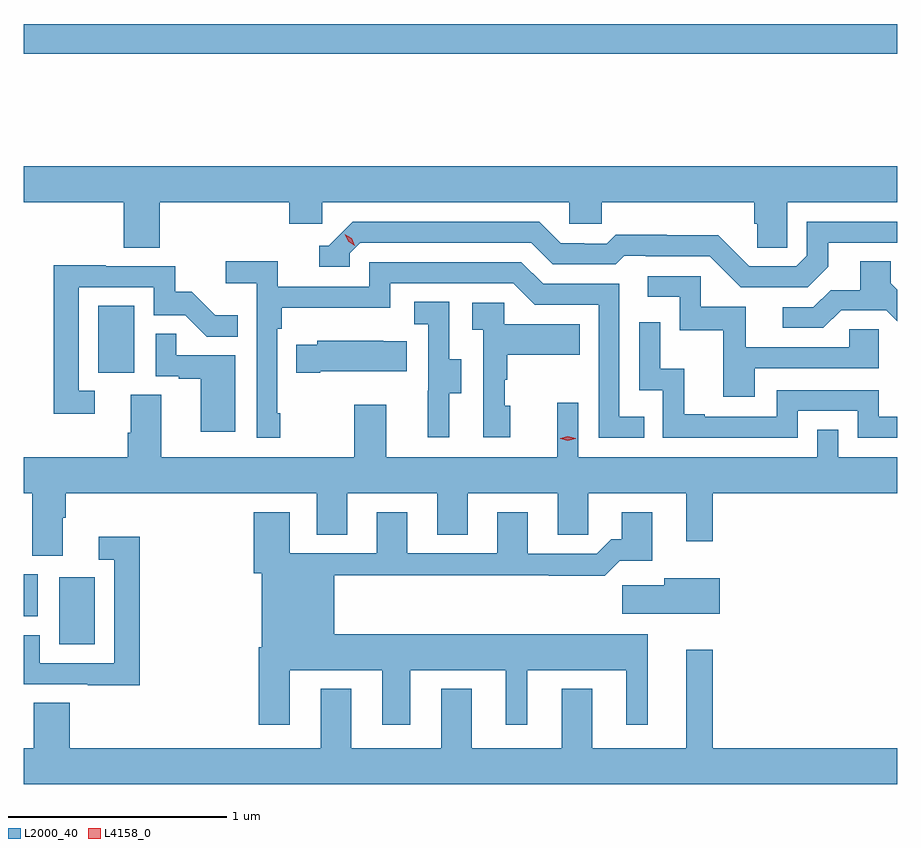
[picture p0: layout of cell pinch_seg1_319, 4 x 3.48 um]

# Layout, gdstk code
import gdstk
lib = gdstk.Library(unit=1e-6, precision=1e-09)
def R(c, l, rs):  # rectangles x0, y0, x1, y1
    for r in rs: c.add(gdstk.rectangle(r[:2], r[2:], *l))
def P(c, l, *ps):  # polygons
    for p in ps: c.add(gdstk.Polygon(p, *l))
L2000_40 = (2000, 40)
L4158_0 = (4158, 0)

pinch_seg1_319 = lib.new_cell('pinch_seg1_319')
R(pinch_seg1_319, L2000_40, [(950.798,544.38,950.962,544.687), (950.636,544.507,950.7,544.701), (950.978,545.622,951.142,545.929), (950.636,547.084,954.636,547.22)])
P(pinch_seg1_319, L2000_40, [(951.26,546.404),(951.851,546.404),(951.851,546.306),(952.002,546.306),(952.002,546.404),(953.133,546.404),(953.133,546.306),(953.283,546.306),(953.283,546.404),(953.981,546.404),(953.981,546.306),(953.995,546.306),(953.995,546.196),(954.132,546.196),(954.132,546.404),(954.636,546.404),(954.636,546.568),(950.636,546.568),(950.636,546.404),(951.095,546.404),(951.095,546.196),(951.26,546.196)],
  [(954.319,546.109),(954.319,546.219),(954.636,546.219),(954.636,546.315),(954.222,546.315),(954.222,546.159),(954.174,546.111),(953.958,546.111),(953.816,546.253),(953.58,546.253),(953.58,546.256),(953.347,546.256),(953.305,546.213),(953.202,546.213),(953.202,546.216),(953.095,546.216),(952.996,546.315),(952.143,546.315),(952.032,546.204),(951.989,546.204),(951.989,546.108),(952.128,546.108),(952.128,546.171),(952.176,546.219),(952.959,546.219),(953.058,546.12),(953.347,546.12),(953.386,546.159),(953.485,546.159),(953.485,546.156),(953.778,546.156),(953.919,546.015),(954.225,546.015)],
  [(951.811,545.437),(951.798,545.437),(951.798,545.825),(951.818,545.825),(951.818,545.921),(952.314,545.921),(952.314,546.033),(952.878,546.033),(952.977,545.934),(953.268,545.934),(953.268,545.325),(953.477,545.325),(953.477,545.421),(953.364,545.421),(953.364,546.03),(953.014,546.03),(952.915,546.129),(952.218,546.129),(952.218,546.018),(951.8,546.018),(951.8,546.134),(951.561,546.134),(951.561,546.032),(951.702,546.032),(951.702,545.325),(951.811,545.325)],
  [(954.379,545.91),(954.585,545.91),(954.636,545.859),(954.636,546.003),(954.607,546.032),(954.607,546.134),(954.467,546.134),(954.467,546.002),(954.332,546.002),(954.252,545.922),(954.111,545.922),(954.111,545.829),(954.298,545.829)],
  [(950.962,545.541),(950.889,545.541),(950.889,546.015),(951.231,546.015),(951.231,545.886),(951.375,545.886),(951.473,545.788),(951.617,545.788),(951.617,545.887),(951.513,545.887),(951.406,545.994),(951.33,545.994),(951.33,546.111),(951.011,546.111),(951.011,546.116),(950.773,546.116),(950.773,545.436),(950.962,545.436)],
  [(953.983,545.643),(954.552,545.643),(954.552,545.823),(954.415,545.823),(954.415,545.739),(953.941,545.739),(953.941,545.925),(953.736,545.925),(953.736,546.066),(953.493,546.066),(953.493,545.97),(953.64,545.97),(953.64,545.817),(953.839,545.817),(953.839,545.514),(953.983,545.514)],
  [(952.585,545.53),(952.639,545.53),(952.639,545.685),(952.584,545.685),(952.584,545.948),(952.425,545.948),(952.425,545.845),(952.488,545.845),(952.488,545.541),(952.487,545.541),(952.487,545.328),(952.585,545.328)],
  [(952.864,545.472),(952.839,545.472),(952.839,545.591),(952.849,545.591),(952.849,545.705),(953.183,545.705),(953.183,545.845),(952.836,545.845),(952.836,545.943),(952.689,545.943),(952.689,545.819),(952.74,545.819),(952.74,545.328),(952.864,545.328)],
  [(954.18,545.448),(954.456,545.448),(954.456,545.325),(954.636,545.325),(954.636,545.421),(954.552,545.421),(954.552,545.544),(954.084,545.544),(954.084,545.421),(953.755,545.421),(953.755,545.434),(953.66,545.434),(953.66,545.642),(953.55,545.642),(953.55,545.854),(953.454,545.854),(953.454,545.544),(953.562,545.544),(953.562,545.325),(954.18,545.325)],
  [(951.604,545.703),(951.335,545.703),(951.335,545.801),(951.24,545.801),(951.24,545.607),(951.347,545.607),(951.347,545.595),(951.446,545.595),(951.446,545.352),(951.604,545.352)],
  [(951.994,545.63),(952.391,545.63),(952.391,545.767),(952.283,545.767),(952.283,545.77),(951.981,545.77),(951.981,545.752),(951.883,545.752),(951.883,545.623),(951.994,545.623)],
  [(950.815,544.96),(950.828,544.96),(950.828,545.072),(951.977,545.072),(951.977,544.882),(952.117,544.882),(952.117,545.072),(952.529,545.072),(952.529,544.882),(952.669,544.882),(952.669,545.072),(953.081,545.072),(953.081,544.882),(953.22,544.882),(953.22,545.072),(953.669,545.072),(953.669,544.851),(953.791,544.851),(953.791,545.072),(954.636,545.072),(954.636,545.236),(954.366,545.236),(954.366,545.363),(954.27,545.363),(954.27,545.236),(953.175,545.236),(953.175,545.485),(953.078,545.485),(953.078,545.236),(952.297,545.236),(952.297,545.476),(952.15,545.476),(952.15,545.236),(951.265,545.236),(951.265,545.522),(951.125,545.522),(951.125,545.348),(951.113,545.348),(951.113,545.236),(950.636,545.236),(950.636,545.072),(950.675,545.072),(950.675,544.786),(950.815,544.786)],
  [(951.853,544.262),(952.277,544.262),(952.277,544.011),(952.405,544.011),(952.405,544.262),(952.844,544.262),(952.844,544.011),(952.942,544.011),(952.942,544.262),(953.396,544.262),(953.396,544.011),(953.494,544.011),(953.494,544.426),(952.057,544.426),(952.057,544.696),(953.041,544.696),(953.041,544.694),(953.297,544.694),(953.366,544.763),(953.515,544.763),(953.515,544.984),(953.375,544.984),(953.375,544.861),(953.326,544.861),(953.259,544.794),(952.945,544.794),(952.945,544.984),(952.805,544.984),(952.805,544.797),(952.393,544.797),(952.393,544.984),(952.253,544.984),(952.253,544.797),(951.853,544.797),(951.853,544.984),(951.689,544.984),(951.689,544.704),(951.725,544.704),(951.725,544.366),(951.713,544.366),(951.713,544.011),(951.853,544.011)],
  [(951.167,544.873),(950.979,544.873),(950.979,544.767),(951.051,544.767),(951.051,544.293),(950.709,544.293),(950.709,544.422),(950.636,544.422),(950.636,544.197),(950.929,544.197),(950.929,544.192),(951.167,544.192)],
  [(953.824,544.681),(953.57,544.681),(953.57,544.649),(953.376,544.649),(953.376,544.52),(953.824,544.52)],
  [(954.636,543.904),(953.791,543.904),(953.791,544.354),(953.669,544.354),(953.669,543.904),(953.239,543.904),(953.239,544.177),(953.099,544.177),(953.099,543.904),(952.687,543.904),(952.687,544.177),(952.547,544.177),(952.547,543.904),(952.135,543.904),(952.135,544.177),(951.995,544.177),(951.995,543.904),(950.846,543.904),(950.846,544.112),(950.681,544.112),(950.681,543.904),(950.636,543.904),(950.636,543.74),(954.636,543.74)])
P(pinch_seg1_319, L4158_0, [(953.128,545.312),(953.093,545.322),(953.092,545.322),(953.093,545.323),(953.128,545.332),(953.163,545.323),(953.163,545.322),(953.163,545.322)],
  [(952.152,546.205),(952.122,546.225),(952.106,546.258),(952.106,546.258),(952.106,546.258),(952.137,546.238),(952.152,546.205),(952.152,546.205)])

lib.write_gds('pinch_seg1_319.gds')
